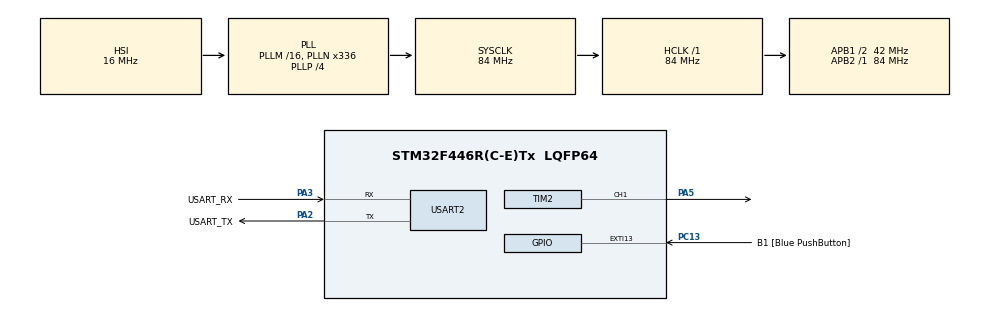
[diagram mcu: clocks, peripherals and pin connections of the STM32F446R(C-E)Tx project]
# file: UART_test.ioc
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Mcu.Family=STM32F4
Mcu.Name=STM32F446R(C-E)Tx
Mcu.Package=LQFP64
NVIC.PriorityGroup=NVIC_PRIORITYGROUP_0
PA13.GPIO_Label=TMS
PA13.Mode=Serial_Wire
PA13.Signal=SYS_JTMS-SWDIO
PA14.GPIO_Label=TCK
PA14.Mode=Serial_Wire
PA14.Signal=SYS_JTCK-SWCLK
PA2.GPIO_Label=USART_TX
PA2.Mode=Asynchronous
PA2.Signal=USART2_TX
PA3.GPIO_Label=USART_RX
PA3.Mode=Asynchronous
PA3.Signal=USART2_RX
PA5.Signal=S_TIM2_CH1_ETR
PB3.GPIO_Label=SWO
PB3.Signal=SYS_JTDO-SWO
PC13.GPIO_Label=B1 [Blue PushButton]
PC13.GPIO_ModeDefaultEXTI=GPIO_MODE_IT_FALLING
PC13.Signal=GPXTI13
PC14-OSC32_IN.Mode=LSE-External-Oscillator
PC14-OSC32_IN.Signal=RCC_OSC32_IN
PC15-OSC32_OUT.Mode=LSE-External-Oscillator
PC15-OSC32_OUT.Signal=RCC_OSC32_OUT
PH0-OSC_IN.Mode=HSE-External-Oscillator
PH0-OSC_IN.Signal=RCC_OSC_IN
PH1-OSC_OUT.Mode=HSE-External-Oscillator
PH1-OSC_OUT.Signal=RCC_OSC_OUT
ProjectManager.HeapSize=0x200
ProjectManager.StackSize=0x400
ProjectManager.TargetToolchain=STM32CubeIDE
RCC.48MHZClocksFreq_Value=84000000
RCC.AHBFreq_Value=84000000
RCC.APB1CLKDivider=RCC_HCLK_DIV2
RCC.APB1Freq_Value=42000000
RCC.APB1TimFreq_Value=84000000
RCC.APB2Freq_Value=84000000
RCC.APB2TimFreq_Value=84000000
RCC.CortexFreq_Value=84000000
RCC.FLatency-AdvancedSettings=FLASH_LATENCY_2
RCC.HCLKFreq_Value=84000000
RCC.HSE_VALUE=8000000
RCC.HSI_VALUE=16000000
RCC.PLLN=336
RCC.PLLP=RCC_PLLP_DIV4
RCC.SYSCLKFreq_VALUE=84000000
RCC.SYSCLKSource=RCC_SYSCLKSOURCE_PLLCLK
RCC.USBFreq_Value=168000000
RCC.VCOOutputFreq_Value=336000000
SH.S_TIM2_CH1_ETR.0=TIM2_CH1,PWM Generation1 CH1
TIM2.Channel-PWM\ Generation1\ CH1=TIM_CHANNEL_1
TIM2.Period=1000-1
TIM2.Prescaler=15
TIM2.Pulse-PWM\ Generation1\ CH1=1000
USART2.VirtualMode=VM_ASYNC
VP_TIM2_VS_ClockSourceINT.Mode=Internal
board=NUCLEO-F446RE

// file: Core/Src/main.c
/* USER CODE BEGIN Header */
/**
  ******************************************************************************
  * @file           : main.c
  * @brief          : Main program body
  ******************************************************************************
  * @attention
  *
  * Copyright (c) 2023 STMicroelectronics.
  * All rights reserved.
  *
  * This software is licensed under terms that can be found in the LICENSE file
  * in the root directory of this software component.
  * If no LICENSE file comes with this software, it is provided AS-IS.
  *
  ******************************************************************************
  */
/* USER CODE END Header */
#include "main.h"

/* USER CODE BEGIN Includes */
#include <stdio.h>
/* USER CODE END Includes */

TIM_HandleTypeDef htim2;

UART_HandleTypeDef huart2;

void SystemClock_Config(void);
static void MX_GPIO_Init(void);
static void MX_USART2_UART_Init(void);
static void MX_TIM2_Init(void);
/* USER CODE BEGIN PFP */
#define PUTCHAR_PROTOTYPE int __io_putchar(int ch)
/* USER CODE END PFP */

int main(void)
{

  /* MCU Configuration--------------------------------------------------------*/

  /* Reset of all peripherals, Initializes the Flash interface and the Systick. */
  HAL_Init();

  /* Configure the system clock */
  SystemClock_Config();

  /* Initialize all configured peripherals */
  MX_GPIO_Init();
  MX_USART2_UART_Init();
  MX_TIM2_Init();
  /* USER CODE BEGIN 2 */
  HAL_TIM_PWM_Start(&htim2, TIM_CHANNEL_1);
  __HAL_TIM_SET_AUTORELOAD(&htim2, 1000);
  __HAL_TIM_SET_COMPARE(&htim2,TIM_CHANNEL_1,1000);
  /* USER CODE END 2 */

  /* Infinite loop */
  /* USER CODE BEGIN WHILE */
  while (1)
  {
	  int x;
	  printf("Hello\n\r");
//	  HAL_GPIO_TogglePin(GPIOA, GPIO_PIN_5);	//PA5 High
//	  HAL_Delay(5000);
    /* USER CODE END WHILE */

    /* USER CODE BEGIN 3 */
	  printf("light on\n\r");
	  for(x=0;x<=4999;x++)
	 	  {
	 		  __HAL_TIM_SET_COMPARE(&htim2,TIM_CHANNEL_1,x);
	 		  HAL_Delay(5);
	 	  }
	  printf("light off\n\r");
	  for(x=4999;x>=0;x--)
	  {
		  __HAL_TIM_SET_COMPARE(&htim2,TIM_CHANNEL_1,x);
		  HAL_Delay(5);
	  }
  }
  /* USER CODE END 3 */
}

void SystemClock_Config(void)
{
  RCC_OscInitTypeDef RCC_OscInitStruct = {0};
  RCC_ClkInitTypeDef RCC_ClkInitStruct = {0};

  /** Configure the main internal regulator output voltage
  */
  __HAL_RCC_PWR_CLK_ENABLE();
  __HAL_PWR_VOLTAGESCALING_CONFIG(PWR_REGULATOR_VOLTAGE_SCALE3);

  /** Initializes the RCC Oscillators according to the specified parameters
  * in the RCC_OscInitTypeDef structure.
  */
  RCC_OscInitStruct.OscillatorType = RCC_OSCILLATORTYPE_HSI;
  RCC_OscInitStruct.HSIState = RCC_HSI_ON;
  RCC_OscInitStruct.HSICalibrationValue = RCC_HSICALIBRATION_DEFAULT;
  RCC_OscInitStruct.PLL.PLLState = RCC_PLL_ON;
  RCC_OscInitStruct.PLL.PLLSource = RCC_PLLSOURCE_HSI;
  RCC_OscInitStruct.PLL.PLLM = 16;
  RCC_OscInitStruct.PLL.PLLN = 336;
  RCC_OscInitStruct.PLL.PLLP = RCC_PLLP_DIV4;
  RCC_OscInitStruct.PLL.PLLQ = 2;
  RCC_OscInitStruct.PLL.PLLR = 2;
  if (HAL_RCC_OscConfig(&RCC_OscInitStruct) != HAL_OK)
  {
    Error_Handler();
  }

  /** Initializes the CPU, AHB and APB buses clocks
  */
  RCC_ClkInitStruct.ClockType = RCC_CLOCKTYPE_HCLK|RCC_CLOCKTYPE_SYSCLK
                              |RCC_CLOCKTYPE_PCLK1|RCC_CLOCKTYPE_PCLK2;
  RCC_ClkInitStruct.SYSCLKSource = RCC_SYSCLKSOURCE_PLLCLK;
  RCC_ClkInitStruct.AHBCLKDivider = RCC_SYSCLK_DIV1;
  RCC_ClkInitStruct.APB1CLKDivider = RCC_HCLK_DIV2;
  RCC_ClkInitStruct.APB2CLKDivider = RCC_HCLK_DIV1;

  if (HAL_RCC_ClockConfig(&RCC_ClkInitStruct, FLASH_LATENCY_2) != HAL_OK)
  {
    Error_Handler();
  }
}

static void MX_TIM2_Init(void)
{

  TIM_ClockConfigTypeDef sClockSourceConfig = {0};
  TIM_MasterConfigTypeDef sMasterConfig = {0};
  TIM_OC_InitTypeDef sConfigOC = {0};

  htim2.Instance = TIM2;
  htim2.Init.Prescaler = 15;
  htim2.Init.CounterMode = TIM_COUNTERMODE_UP;
  htim2.Init.Period = 1000-1;
  htim2.Init.ClockDivision = TIM_CLOCKDIVISION_DIV1;
  htim2.Init.AutoReloadPreload = TIM_AUTORELOAD_PRELOAD_DISABLE;
  if (HAL_TIM_Base_Init(&htim2) != HAL_OK)
  {
    Error_Handler();
  }
  sClockSourceConfig.ClockSource = TIM_CLOCKSOURCE_INTERNAL;
  if (HAL_TIM_ConfigClockSource(&htim2, &sClockSourceConfig) != HAL_OK)
  {
    Error_Handler();
  }
  if (HAL_TIM_PWM_Init(&htim2) != HAL_OK)
  {
    Error_Handler();
  }
  sMasterConfig.MasterOutputTrigger = TIM_TRGO_RESET;
  sMasterConfig.MasterSlaveMode = TIM_MASTERSLAVEMODE_DISABLE;
  if (HAL_TIMEx_MasterConfigSynchronization(&htim2, &sMasterConfig) != HAL_OK)
  {
    Error_Handler();
  }
  sConfigOC.OCMode = TIM_OCMODE_PWM1;
  sConfigOC.Pulse = 1000;
  sConfigOC.OCPolarity = TIM_OCPOLARITY_HIGH;
  sConfigOC.OCFastMode = TIM_OCFAST_DISABLE;
  if (HAL_TIM_PWM_ConfigChannel(&htim2, &sConfigOC, TIM_CHANNEL_1) != HAL_OK)
  {
    Error_Handler();
  }
  HAL_TIM_MspPostInit(&htim2);

}

static void MX_USART2_UART_Init(void)
{

  huart2.Instance = USART2;
  huart2.Init.BaudRate = 115200;
  huart2.Init.WordLength = UART_WORDLENGTH_8B;
  huart2.Init.StopBits = UART_STOPBITS_1;
  huart2.Init.Parity = UART_PARITY_NONE;
  huart2.Init.Mode = UART_MODE_TX_RX;
  huart2.Init.HwFlowCtl = UART_HWCONTROL_NONE;
  huart2.Init.OverSampling = UART_OVERSAMPLING_16;
  if (HAL_UART_Init(&huart2) != HAL_OK)
  {
    Error_Handler();
  }

}

static void MX_GPIO_Init(void)
{
  GPIO_InitTypeDef GPIO_InitStruct = {0};

  /* GPIO Ports Clock Enable */
  __HAL_RCC_GPIOC_CLK_ENABLE();
  __HAL_RCC_GPIOH_CLK_ENABLE();
  __HAL_RCC_GPIOA_CLK_ENABLE();
  __HAL_RCC_GPIOB_CLK_ENABLE();

  /*Configure GPIO pin : B1_Pin */
  GPIO_InitStruct.Pin = B1_Pin;
  GPIO_InitStruct.Mode = GPIO_MODE_IT_FALLING;
  GPIO_InitStruct.Pull = GPIO_NOPULL;
  HAL_GPIO_Init(B1_GPIO_Port, &GPIO_InitStruct);

}

/* USER CODE BEGIN 4 */
/**
  * @brief  Retargets the C library printf function to the USART.
  * @param  None
  * @retval None
  */
PUTCHAR_PROTOTYPE
{
  /* Place your implementation of fputc here */
  /* e.g. write a character to the USART1 and Loop until the end of transmission */
  HAL_UART_Transmit(&huart2, (uint8_t *)&ch, 1, 0xFFFF);

  return ch;
}
/* USER CODE END 4 */

void Error_Handler(void)
{
  __disable_irq();
  while (1)
  {
  }
}
